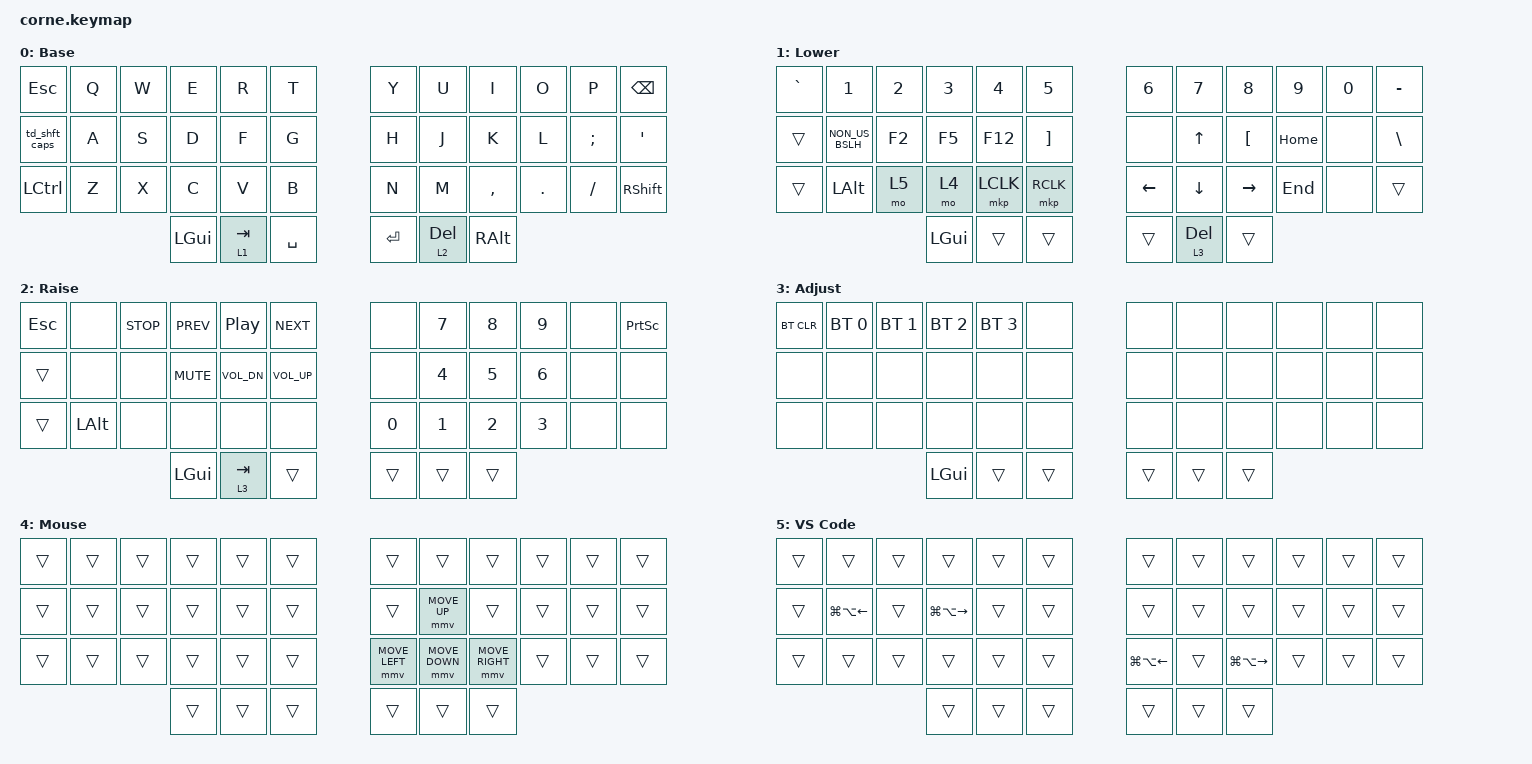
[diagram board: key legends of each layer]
/*
 * Copyright (c) 2020 The ZMK Contributors
 *
 * SPDX-License-Identifier: MIT
 */

#include <behaviors.dtsi>
#include <dt-bindings/zmk/keys.h>
#include <dt-bindings/zmk/bt.h>
#include <dt-bindings/zmk/pointing.h>

/ {
    behaviors {
        // Tap Dance: 1 toque = Shift Izq, 2 toques = Bloq Mayus
        td_shft_caps: tap_dance_shift_caps {
            compatible = "zmk,behavior-tap-dance";
            #binding-cells = <0>;
            tapping-term-ms = <200>;
            bindings = <&kp LSHFT>, <&kp CAPSLOCK>;
        };
        
        // Movimiento del mouse
        mmv {
            acceleration-exponent = <1>;
            time-to-max-speed-ms = <300>;
            delay-ms = <0>;
        };
    };

       combos {
        compatible = "zmk,combos";
        
        // COMBO: ESC + E = Format Code (Shift + Alt + F)
        combo_vscode_format {
            timeout-ms = <50>;
            key-positions = <0 3>; 
            bindings = <&kp LS(LA(F))>;
        };

        // COMBO: ESC + P = Command Palette (Shift + CMD/GUI + P)
        combo_vscode_palette {
            timeout-ms = <50>;
            key-positions = <0 10>; 
            bindings = <&kp LS(LG(P))>;
        };

        // COMBO: ESC + R = Screenshot Recorte (Shift + CMD/GUI + 4)
        combo_mac_screenshot_4 {
            timeout-ms = <50>;
            key-positions = <0 4>; 
            bindings = <&kp LS(LG(N4))>;
        };

        // COMBO: ESC + T = Screenshot Herramienta/Video (Shift + CMD/GUI + 5)
        combo_mac_screenshot_5 {
            timeout-ms = <50>;
            key-positions = <0 5>; 
            bindings = <&kp LS(LG(N5))>;
        };
    };

    keymap {
        compatible = "zmk,keymap";

        default_layer {r
            display-name = "Base";
// -----------------------------------------------------------------------------------------
// |  ESC |  Q  |  W  |  E  |  R  |  T  |   |  Y  |  U   |  I  |  O  |  P  | BSPC |
// | SHFT*|  A  |  S  |  D  |  F  |  G  |   |  H  |  J   |  K  |  L  |  ;  |  '   |
// | CTRL |  Z  |  X  |  C  |  V  |  B  |   |  N  |  M   |  ,  |  .  |  /  | SHFT |
//                    | GUI | LWR | SPC |   | ENT | RSE  | ALT |
            bindings = <
   &kp ESC       &kp Q &kp W &kp E &kp R &kp T   &kp Y &kp U  &kp I     &kp O   &kp P    &kp BSPC
   &td_shft_caps &kp A &kp S &kp D &kp F &kp G   &kp H &kp J  &kp K     &kp L   &kp SEMI &kp SQT
   &kp LCTRL     &kp Z &kp X &kp C &kp V &kp B   &kp N &kp M  &kp COMMA &kp DOT &kp FSLH &kp RSHFT
                 &kp LGUI &lt 1 TAB &kp SPACE    &kp RET &lt 2 DEL &kp RALT
            >;
        };

        lower_layer {
            display-name = "Lower";
// -----------------------------------------------------------------------------------------
// |  `   |  1  |  2  |  3  |  4  |  5  |   |  6  |  7  |  8  |  9  |  0  |  -   |
// | TRNS | NUBS| F2  | F5  | F12 |  ]  |   | NONE|  UP  |  [  | HOME| NONE|  \   |
// | TRNS | ALT | VSCD|MOUSE| LCLK| RCLK|   | LFT | DWN  | RGT | END | NONE| TRNS |
//                    | GUI | TRNS| TRNS|   | TRNS| ADJ  | TRNS|
            bindings = <
   &kp GRAVE  &kp N1      &kp N2 &kp N3 &kp N4 &kp N5      &kp N6   &kp N7   &kp N8    &kp N9    &kp N0 &kp MINUS
   &trans     &kp NON_US_BSLH &kp F2 &kp F5 &kp F12 &kp RBKT    &none    &kp UP   &kp LBKT  &kp HOME  &none  &kp BSLH
   &trans     &kp LALT    &mo 5  &mo 4  &mkp LCLK &mkp RCLK  &kp LEFT &kp DOWN &kp RIGHT &kp END   &none  &trans
                          &kp LGUI &trans &trans           &trans   &lt 3 DEL &trans
            >;
        };

        raise_layer {
            display-name = "Raise";
// -----------------------------------------------------------------------------------------
// | ESC  | NONE| STOP| PREV| PLAY| NEXT|   | NONE|  7  |  8  |  9  | NONE| PSCRN|
// | TRNS | NONE| NONE| MUTE| VDN | VUP |   | NONE|  4  |  5  |  6  | NONE| NONE |
// | TRNS | ALT | NONE| NONE| NONE| NONE|   |  0  |  1  |  2  |  3  | NONE| NONE |
//                    | GUI | ADJ | TRNS|   | TRNS| TRNS| TRNS|
            bindings = <
   &kp ESC &none    &kp C_STOP &kp C_PREV &kp C_PP     &kp C_NEXT      &none  &kp N7 &kp N8 &kp N9 &none &kp PSCRN
   &trans  &none    &none      &kp C_MUTE &kp C_VOL_DN &kp C_VOL_UP    &none  &kp N4 &kp N5 &kp N6 &none &none
   &trans  &kp LALT &none      &none      &none        &none           &kp N0 &kp N1 &kp N2 &kp N3 &none &none
                               &kp LGUI   &lt 3 TAB    &trans          &trans &trans &trans
            >;
        };

        adjust_layer {
            display-name = "Adjust";
// -----------------------------------------------------------------------------------------
// | BTCLR | BT1| BT2 | BT3 | BT4 | NONE |   | NONE| NONE| NONE| NONE| NONE| NONE |
// | NONE  | NONE| NONE| NONE| NONE| NONE|   | NONE| NONE| NONE| NONE| NONE| NONE |
// | NONE  | NONE| NONE| NONE| NONE| NONE|   | NONE| NONE| NONE| NONE| NONE| NONE |
//                     | GUI | TRNS| TRNS|   | TRNS| TRNS| TRNS|
            bindings = <
   &bt BT_CLR &bt BT_SEL 0 &bt BT_SEL 1 &bt BT_SEL 2 &bt BT_SEL 3 &none   &none &none &none &none &none &none
   &none       &none      &none        &none        &none        &none          &none  &none &none &none &none &none
   &none       &none      &none        &none        &none        &none          &none  &none &none &none &none &none
                          &kp LGUI     &trans       &trans                      &trans &trans &trans
            >;
        };

        mouse_layer {
            display-name = "Mouse";
// -----------------------------------------------------------------------------------------
// |      |     |     |     |     |     |   |     |     |     |     |     |      |
// |      |     |     |     |     |     |   |     | M_UP|     |     |     |      |
// |      |     |     |     |     |     |   |M_LFT|M_DWN|M_RGT|     |     |      |
//                    |     |     |     |   |     |     |     |
            bindings = <
   &trans &trans &trans &trans &trans &trans    &trans &trans &trans &trans &trans &trans
   &trans &trans &trans &trans &trans &trans    &trans &mmv MOVE_UP &trans &trans &trans &trans
   &trans &trans &trans &trans &trans &trans    &mmv MOVE_LEFT &mmv MOVE_DOWN &mmv MOVE_RIGHT &trans &trans &trans
                        &trans &trans &trans    &trans &trans &trans
            >;
        };

        vscode_layer {
            display-name = "VS Code";
// -----------------------------------------------------------------------------------------
// |      |     |      |      |     |     |   |     |      |      |     |     |      |
// |      |PRV_T|      | NXT_T|     |     |   |     |      |      |     |     |      |
// |      |     |      |      |     |     |   |PRV_T|      |NXT_T |     |     |      |
//                    |      |     |     |   |     |      |      |
            bindings = <
   &trans &trans &trans &trans &trans &trans    &trans &trans &trans &trans &trans &trans
   &trans &kp LG(LA(LEFT)) &trans &kp LG(LA(RIGHT)) &trans &trans   &trans &trans &trans &trans &trans &trans
   &trans &trans &trans &trans &trans &trans    &kp LG(LA(LEFT)) &trans &kp LG(LA(RIGHT)) &trans &trans &trans
                        &trans &trans &trans    &trans &trans &trans
            >;
        };
    };
};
